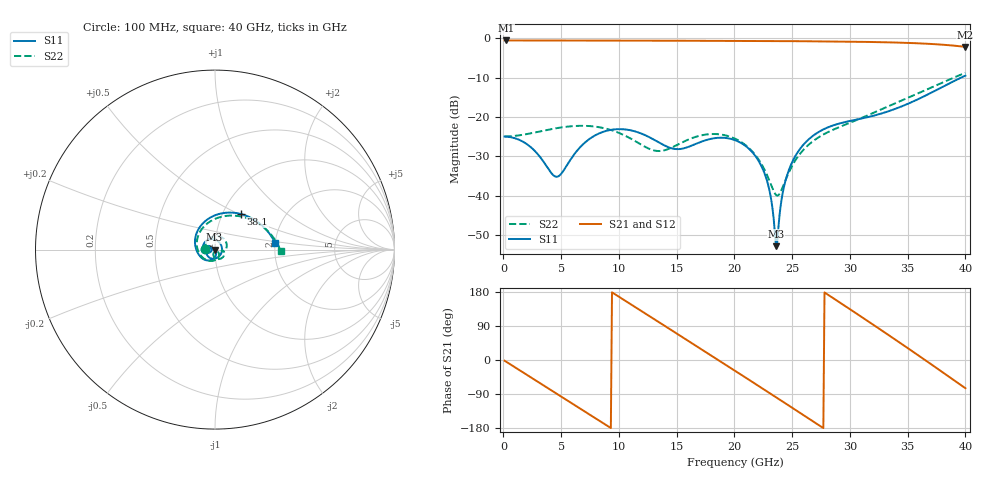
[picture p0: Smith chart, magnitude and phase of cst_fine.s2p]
! B_ts6_L1L6: ThunderScope stack: L1→B.Cu, no stub
! stackup: ThunderScope Rev5.3 6-layer (FR408HR / FR-4, from the board file)
! ports: 1, 2
! CST Studio Suite 2025.5 Release from 2025-05-30, time domain (FIT, hexahedral, PBA), 303552 mesh cells, 48 s
! mesh: {'lpw': 30.0, 'lpb': 30.0, 'minstep': 0.0, 'ratio': 20}; ports: port 1 (face); port 2 (face)
! interpolated from CST's 1001 samples to the case grid
# Hz S RI R 50
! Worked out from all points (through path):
!   400 points, 100 MHz to 40 GHz, reference 50 ohm
!   highest |S21| = -0.51 dB at 200 MHz (marker M1); lowest = -2.1 dB at 40 GHz (marker M2)
!   group delay of S21, straight-line fit = 54.9 ps
!   lowest |S11| = -52.8 dB at 23.6 GHz (marker M3), VSWR 1.00, Z = 49.8 - j0.0937 ohm
!   |S11| at or under -10 dB: start of sweep to 39.6 GHz
!   |S22| runs from -40.0 to -8.7 dB; largest |S21 - S12| = 1.2e-06
!   S11 on the Smith chart (normalised r, x): 100 MHz: 0.89, +0.00; 38.1 GHz: 1.22, +0.51; 40 GHz: 2.00, +0.17
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1e8  -0.0567 0.00139  0.9427 -0.0318  0.9427 -0.0318  -0.0567 0.00154
2e8  -0.0565 0.00278  0.9411 -0.0635  0.9411 -0.0635  -0.0566 0.00309
3.7e9  -0.0206 0.0126  0.2997 -0.8934  0.2997 -0.8934  -0.0322 0.0603
4.8e9  -0.0178 -0.00166  -0.0443 -0.9405  -0.0443 -0.9405  -0.00987 0.0725
6.8e9  -0.0402 -0.0175  -0.6203 -0.7062  -0.6203 -0.7062  0.0385 0.0673
1e10  -0.0617 0.0337  -0.9141 0.2121  -0.9141 0.2121  0.0626 0.00664
1.34e10  0.021 0.0434  -0.1797 0.9201  -0.1797 0.9201  0.0366 -0.00591
1.52e10  0.0386 -0.00656  0.3798 0.8554  0.3798 0.8554  0.0452 -0.00586
1.72e10  0.00482 -0.0488  0.8307 0.4257  0.8307 0.4257  0.0513 -0.0289
2.01e10  -0.046 -0.0212  0.8104 -0.4572  0.8104 -0.4572  0.011 -0.0517
2.26e10  -0.0181 0.00705  0.1849 -0.91  0.1849 -0.91  -0.00818 -0.0199
2.32e10  -0.00789 0.00361  -0.00572 -0.9279  -0.00572 -0.9279  -0.00347 -0.013
2.36e10  -0.00208 -0.000941  -0.1332 -0.9177  -0.1332 -0.9177  0.00114 -0.0102
2.41e10  0.00331 -0.00869  -0.2886 -0.8804  -0.2886 -0.8804  0.00774 -0.00922
2.46e10  0.0061 -0.018  -0.4353 -0.8168  -0.4353 -0.8168  0.0143 -0.0113
2.67e10  -0.0131 -0.0548  -0.8634 -0.3181  -0.8634 -0.3181  0.0176 -0.0448
2.86e10  -0.0534 -0.0581  -0.8712 0.2783  -0.8712 0.2783  -0.0305 -0.0627
3.06e10  -0.0876 -0.0318  -0.4809 0.7699  -0.4809 0.7699  -0.0909 -0.0151
3.34e10  -0.1116 0.0428  0.3805 0.8071  0.3805 0.8071  -0.0683 0.121
3.58e10  -0.0576 0.1559  0.8402 0.2226  0.8402 0.2226  0.0614 0.1877
3.81e10  0.145 0.1981  0.6903 -0.4636  0.6903 -0.4636  0.2351 0.1497
4e10  0.3348 0.0379  0.2096 -0.7539  0.2096 -0.7539  0.3656 -0.00576
